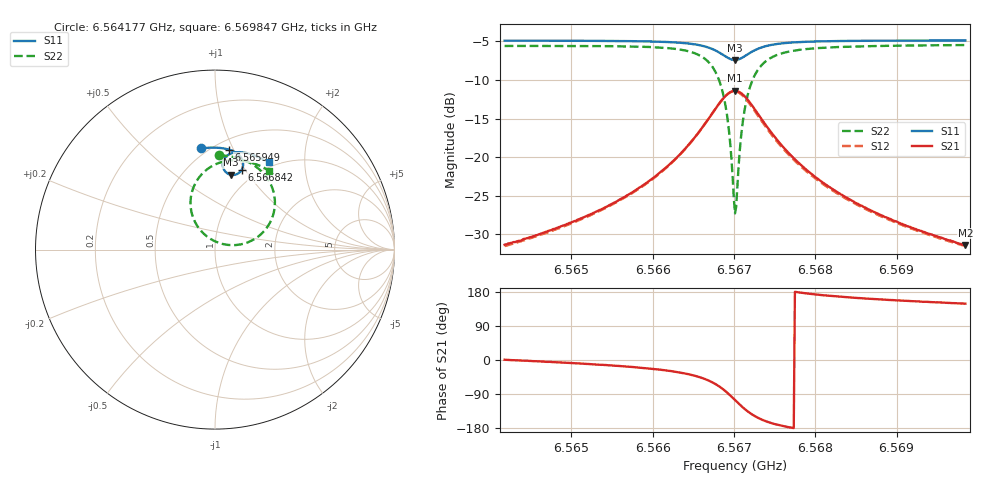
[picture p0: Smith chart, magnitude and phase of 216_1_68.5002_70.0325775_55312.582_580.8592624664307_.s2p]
#  HZ  S  RI  R  50.00
! Rohde & Schwarz Vector Network Analyzer
! Rohde-Schwarz,ZNB20-2Port,1311601062101988,3.16
! Created: UTC 3/20/2024, 4:58:13 PM
! freq[Hz]  re:S11  im:S11  re:S21  im:S21  re:S12  im:S12  re:S22  im:S22
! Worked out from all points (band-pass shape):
!   401 points, 6.564177 GHz to 6.569847 GHz, reference 50 ohm
!   highest |S21| = -11.40 dB at 6.567012 GHz (marker M1); lowest = -31.4 dB at 6.569847 GHz (marker M2)
!   |S21| within 3 dB of the highest: 6.566728 GHz to 6.567295 GHz (566.2 kHz wide, 0.00862 % of centre)
!   lowest |S11| = -7.4 dB at 6.567012 GHz (marker M3), VSWR 2.49, Z = 40.6 + j41.4 ohm
!   |S11| at or under -10 dB: nowhere
!   |S22| runs from -27.3 to -5.5 dB; largest |S21 - S12| = 0.013
!   S11 on the Smith chart (normalised r, x): 6.564177 GHz: 0.46, +0.76; 6.565949 GHz: 0.59, +0.96; 6.566842 GHz: 0.85, +0.96; 6.569847 GHz: 0.93, +1.34
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6.5641771e9  -0.0764 0.5639  0.0269 0.000363  0.0264 -0.000245  0.0231 0.5253
6.5651268e9  0.000725 0.568  0.0395 -0.00657  0.0389 -0.00728  0.1111 0.514
6.5659489e9  0.0756 0.5575  0.0643 -0.0263  0.0634 -0.0271  0.2126 0.4726
6.5660764e9  0.0888 0.5533  0.0709 -0.0335  0.0697 -0.0342  0.2333 0.4584
6.5663883e9  0.1239 0.5349  0.0911 -0.0643  0.0898 -0.0657  0.2916 0.397
6.5666151e9  0.1495 0.5048  0.1047 -0.1166  0.1024 -0.1188  0.3312 0.2961
6.5667426e9  0.1567 0.4747  0.0976 -0.1692  0.0934 -0.1724  0.3248 0.1957
6.5668419e9  0.1485 0.4442  0.066 -0.2212  0.0589 -0.2241  0.269 0.0981
6.5668844e9  0.1388 0.4317  0.0409 -0.2421  0.0319 -0.2439  0.2229 0.0605
6.5669269e9  0.1245 0.4217  0.00778 -0.2577  -0.00272 -0.2576  0.1626 0.0335
6.5669978e9  0.0938 0.4161  -0.0587 -0.2622  -0.0698 -0.2575  0.0438 0.0311
6.5670119e9  0.0875 0.4171  -0.0723 -0.2591  -0.0832 -0.2535  0.0203 0.038
6.5670403e9  0.0753 0.4214  -0.0981 -0.249  -0.108 -0.2414  -0.0238 0.0589
6.5670828e9  0.06 0.4322  -0.1309 -0.2255  -0.1387 -0.216  -0.0777 0.104
6.5671253e9  0.0495 0.4468  -0.1543 -0.1961  -0.1595 -0.1856  -0.1138 0.1586
6.567182e9  0.0436 0.4676  -0.1708 -0.155  -0.1726 -0.1446  -0.1349 0.2325
6.5672529e9  0.046 0.4908  -0.1732 -0.1094  -0.1724 -0.1007  -0.1306 0.3117
6.5673521e9  0.0586 0.5139  -0.1599 -0.064  -0.1575 -0.0573  -0.0978 0.3892
6.567508e9  0.0842 0.5333  -0.1313 -0.0245  -0.1283 -0.0205  -0.0351 0.4537
6.5679616e9  0.1448 0.5426  -0.0767 0.00798  -0.0747 0.00935  0.0921 0.4977
6.5689113e9  0.2311 0.5204  -0.037 0.0147  -0.0362 0.0148  0.2214 0.4782
6.5698468e9  0.2993 0.4863  -0.0229 0.0139  -0.0225 0.014  0.3009 0.4401
